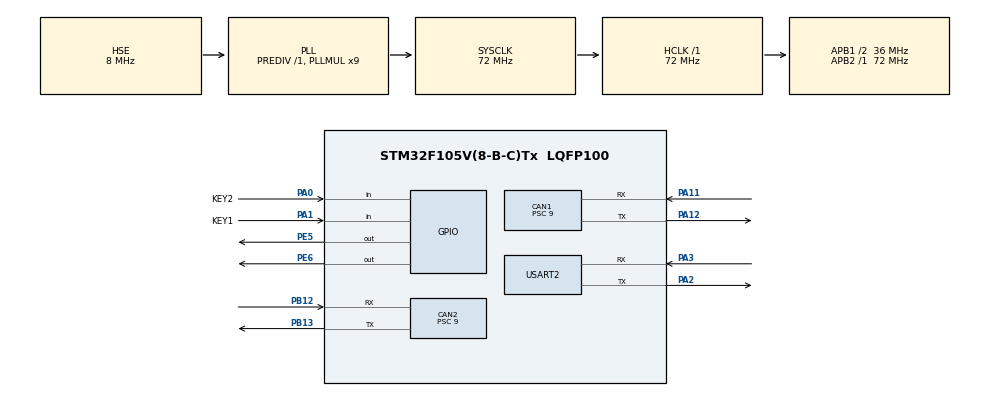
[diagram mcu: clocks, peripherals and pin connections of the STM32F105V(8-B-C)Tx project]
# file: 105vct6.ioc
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CAN1.BS1=CAN_BS1_6TQ
CAN1.CalculateTimeBit=2000
CAN1.CalculateTimeQuantum=250.0
CAN1.Prescaler=9
CAN2.BS1=CAN_BS1_6TQ
CAN2.CalculateTimeBit=2000
CAN2.CalculateTimeQuantum=250.0
CAN2.Prescaler=9
Mcu.Family=STM32F1
Mcu.Name=STM32F105V(8-B-C)Tx
Mcu.Package=LQFP100
NVIC.CAN2_RX0_IRQn=true\:0\:0\:false\:false\:true\:true\:true
NVIC.CAN2_TX_IRQn=true\:0\:0\:false\:false\:true\:true\:true
NVIC.PriorityGroup=NVIC_PRIORITYGROUP_4
OSC_IN.Mode=HSE-External-Oscillator
OSC_IN.Signal=RCC_OSC_IN
OSC_OUT.Mode=HSE-External-Oscillator
OSC_OUT.Signal=RCC_OSC_OUT
PA0-WKUP.GPIO_Label=KEY2
PA0-WKUP.GPIO_PuPd=GPIO_PULLUP
PA0-WKUP.Signal=GPIO_Input
PA1.GPIO_Label=KEY1
PA1.GPIO_PuPd=GPIO_PULLUP
PA1.Signal=GPIO_Input
PA11.Mode=Master
PA11.Signal=CAN1_RX
PA12.Mode=Master
PA12.Signal=CAN1_TX
PA13.Mode=Serial_Wire
PA13.Signal=SYS_JTMS-SWDIO
PA14.Mode=Serial_Wire
PA14.Signal=SYS_JTCK-SWCLK
PA2.Mode=Asynchronous
PA2.Signal=USART2_TX
PA3.Mode=Asynchronous
PA3.Signal=USART2_RX
PB12.Mode=Slave
PB12.Signal=CAN2_RX
PB13.Mode=Slave
PB13.Signal=CAN2_TX
PE5.Signal=GPIO_Output
PE6.Signal=GPIO_Output
ProjectManager.HeapSize=0x200
ProjectManager.StackSize=0x400
ProjectManager.TargetToolchain=STM32CubeIDE
RCC.AHBFreq_Value=72000000
RCC.APB1CLKDivider=RCC_HCLK_DIV2
RCC.APB1Freq_Value=36000000
RCC.APB1TimFreq_Value=72000000
RCC.APB2Freq_Value=72000000
RCC.APB2TimFreq_Value=72000000
RCC.HCLKFreq_Value=72000000
RCC.PLLMUL=RCC_PLL_MUL9
RCC.PLLSourceVirtual=RCC_PLLSOURCE_HSE
RCC.SYSCLKFreq_VALUE=72000000
RCC.SYSCLKSource=RCC_SYSCLKSOURCE_PLLCLK
RCC.USBFreq_Value=48000000
USART2.VirtualMode=VM_ASYNC
board=custom

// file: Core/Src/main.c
/* USER CODE BEGIN Header */
/**
  ******************************************************************************
  * @file           : main.c
  * @brief          : Main program body
  ******************************************************************************
  * @attention
  *
  * <h2><center>&copy; Copyright (c) 2022 STMicroelectronics.
  * All rights reserved.</center></h2>
  *
  * This software component is licensed by ST under BSD 3-Clause license,
  * the "License"; You may not use this file except in compliance with the
  * License. You may obtain a copy of the License at:
  *                        opensource.org/licenses/BSD-3-Clause
  *
  ******************************************************************************
  */
/* USER CODE END Header */
#include "main.h"
#include "usart.h"
#include "gpio.h"

void SystemClock_Config(void);

uint8_t can2_tx_aData[8]={0,0};
uint8_t can2_rx_aData[8]={0,0};

CAN_RxHeaderTypeDef can2_pHeader;

int main(void)
{
	/******************************************************************************************************
	 Noted:
	 1、 APM32 CAN2 needs to be set separately at offset address 0x200 to 0x31c,ST only set CAN1.
	 2、 APM32 CAN2 interrupt vector needs to be reset.
	 ******************************************************************************************************/

  HAL_Init();

  /* Configure the system clock */
  SystemClock_Config();

  /* Initialize all configured peripherals */
  MX_GPIO_Init();
  MX_CAN1_Init();

  MX_CAN2_Init();
  MX_USART2_UART_Init();
  /* USER CODE BEGIN 2 */

  USART_TxData(USART2,2);

  CAN_Filter_Config(&hcan2);

  #if CAN2_RX_HANDLE_ENABLE//enable  CAN2 rx enable
  CAN_EnableInterrupt(CAN2,CAN_INT_F0MP);
  #endif
  /* USER CODE END 2 */

  /* Infinite loop */
  /* USER CODE BEGIN WHILE */
  while (1)
  {
      #if !CAN2_RX_HANDLE_ENABLE      //if not enable can2 rx interrupt,excute scan mode.
	  if(HAL_CAN_GetRxMessage(&hcan2, CAN_RX_FIFO0, &can2_pHeader,can2_rx_aData)==HAL_OK)
	  {
		  HAL_GPIO_WritePin(GPIOE, GPIO_PIN_6, GPIO_PIN_RESET);
		  CAN_Send(&hcan2,can2_rx_aData,size(can2_rx_aData));
		  HAL_Delay(100);
		  HAL_GPIO_WritePin(GPIOE, GPIO_PIN_6, GPIO_PIN_SET);
	  }
      #endif

	  if(HAL_GPIO_ReadPin(GPIOA, KEY1_Pin)==GPIO_PIN_RESET)
	  {
		  HAL_Delay(10);
		  if(HAL_GPIO_ReadPin(GPIOA, KEY1_Pin)==GPIO_PIN_RESET)
		  {
			  HAL_GPIO_WritePin(GPIOE, GPIO_PIN_5, GPIO_PIN_RESET);
			  #if CAN2_TX_HANDLE_ENABLE//enable  CAN2 tx enable
			  CAN_EnableInterrupt(CAN2,CAN_INT_TXME);
			  #endif

			  can2_tx_aData[0]=0;
			  can2_tx_aData[1]++;
			  CAN_Send(&hcan2,can2_tx_aData,size(can2_tx_aData));
			  while(HAL_GPIO_ReadPin(GPIOA, KEY1_Pin)!=GPIO_PIN_SET);
			  HAL_GPIO_WritePin(GPIOE, GPIO_PIN_5, GPIO_PIN_SET);
		  }
	  }

      #if CAN2_TX_HANDLE_ENABLE    //if enable can2 tx interrupt,key exit interrupt.
	  if(HAL_GPIO_ReadPin(GPIOA, KEY2_Pin)==GPIO_PIN_RESET)
	  {
	  		  HAL_Delay(10);
	  		  if(HAL_GPIO_ReadPin(GPIOA, KEY2_Pin)==GPIO_PIN_RESET)
	  		  {
	  			  HAL_GPIO_WritePin(GPIOE, GPIO_PIN_6, GPIO_PIN_RESET);
	  			  CAN_DisableInterrupt(CAN2,CAN_INT_TXME);
	  			  while(HAL_GPIO_ReadPin(GPIOA, KEY1_Pin)!=GPIO_PIN_SET);
	  			  HAL_GPIO_WritePin(GPIOE, GPIO_PIN_6, GPIO_PIN_SET);
	  		  }
	   }
      #endif
    /* USER CODE END WHILE */

  }
}

void SystemClock_Config(void)
{
  RCC_OscInitTypeDef RCC_OscInitStruct = {0};
  RCC_ClkInitTypeDef RCC_ClkInitStruct = {0};

  /** Initializes the RCC Oscillators according to the specified parameters
  * in the RCC_OscInitTypeDef structure.
  */
  RCC_OscInitStruct.OscillatorType = RCC_OSCILLATORTYPE_HSE;
  RCC_OscInitStruct.HSEState = RCC_HSE_ON;
  RCC_OscInitStruct.HSEPredivValue = RCC_HSE_PREDIV_DIV1;
  RCC_OscInitStruct.HSIState = RCC_HSI_ON;
  RCC_OscInitStruct.Prediv1Source = RCC_PREDIV1_SOURCE_HSE;
  RCC_OscInitStruct.PLL.PLLState = RCC_PLL_ON;
  RCC_OscInitStruct.PLL.PLLSource = RCC_PLLSOURCE_HSE;
  RCC_OscInitStruct.PLL.PLLMUL = RCC_PLL_MUL9;
  RCC_OscInitStruct.PLL2.PLL2State = RCC_PLL_NONE;
  if (HAL_RCC_OscConfig(&RCC_OscInitStruct) != HAL_OK)
  {
    Error_Handler();
  }
  /** Initializes the CPU, AHB and APB buses clocks
  */
  RCC_ClkInitStruct.ClockType = RCC_CLOCKTYPE_HCLK|RCC_CLOCKTYPE_SYSCLK
                              |RCC_CLOCKTYPE_PCLK1|RCC_CLOCKTYPE_PCLK2;
  RCC_ClkInitStruct.SYSCLKSource = RCC_SYSCLKSOURCE_PLLCLK;
  RCC_ClkInitStruct.AHBCLKDivider = RCC_SYSCLK_DIV1;
  RCC_ClkInitStruct.APB1CLKDivider = RCC_HCLK_DIV2;
  RCC_ClkInitStruct.APB2CLKDivider = RCC_HCLK_DIV1;

  if (HAL_RCC_ClockConfig(&RCC_ClkInitStruct, FLASH_LATENCY_2) != HAL_OK)
  {
    Error_Handler();
  }
  /** Configure the Systick interrupt time
  */
  __HAL_RCC_PLLI2S_ENABLE();
}

void Error_Handler(void)
{
}

/************************ (C) COPYRIGHT STMicroelectronics *****END OF FILE****/
